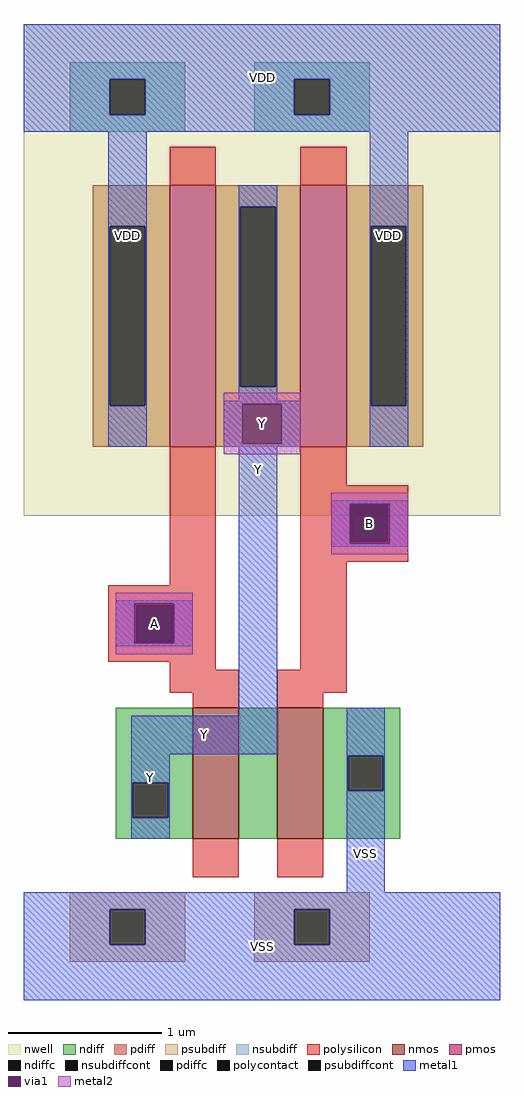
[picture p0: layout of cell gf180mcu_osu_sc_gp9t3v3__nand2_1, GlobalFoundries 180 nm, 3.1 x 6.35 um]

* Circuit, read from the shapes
.subckt gf180mcu_osu_sc_gp9t3v3__nand2_1 A B Y VDD VSS
XM1 n1 A Y VSS nfet_03v3 w=0.85u l=0.3u
XM2 VSS B n1 VSS nfet_03v3 w=0.85u l=0.3u
XM3 Y A VDD VDD pfet_03v3 w=1.7u l=0.3u
XM4 VDD B Y VDD pfet_03v3 w=1.7u l=0.3u
.ends

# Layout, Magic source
magic
tech gf180mcuA
magscale 1 10
<< nwell >>
rect 0 630 620 1270
<< nmos >>
rect 220 210 280 380
rect 330 210 390 380
<< pmos >>
rect 190 720 250 1060
rect 360 720 420 1060
<< ndiff >>
rect 120 283 220 380
rect 120 237 142 283
rect 188 237 220 283
rect 120 210 220 237
rect 280 210 330 380
rect 390 318 490 380
rect 390 272 422 318
rect 468 272 490 318
rect 390 210 490 272
<< pdiff >>
rect 90 1007 190 1060
rect 90 773 112 1007
rect 158 773 190 1007
rect 90 720 190 773
rect 250 1032 360 1060
rect 250 798 282 1032
rect 328 798 360 1032
rect 250 720 360 798
rect 420 1007 520 1060
rect 420 773 452 1007
rect 498 773 520 1007
rect 420 720 520 773
<< ndiffc >>
rect 142 237 188 283
rect 422 272 468 318
<< pdiffc >>
rect 112 773 158 1007
rect 282 798 328 1032
rect 452 773 498 1007
<< psubdiff >>
rect 60 118 210 140
rect 60 72 112 118
rect 158 72 210 118
rect 60 50 210 72
rect 300 118 450 140
rect 300 72 352 118
rect 398 72 450 118
rect 300 50 450 72
<< nsubdiff >>
rect 60 1198 210 1220
rect 60 1152 112 1198
rect 158 1152 210 1198
rect 60 1130 210 1152
rect 300 1198 450 1220
rect 300 1152 352 1198
rect 398 1152 450 1198
rect 300 1130 450 1152
<< psubdiffcont >>
rect 112 72 158 118
rect 352 72 398 118
<< nsubdiffcont >>
rect 112 1152 158 1198
rect 352 1152 398 1198
<< polysilicon >>
rect 190 1060 250 1110
rect 360 1060 420 1110
rect 190 540 250 720
rect 110 513 250 540
rect 110 467 147 513
rect 193 467 250 513
rect 110 440 250 467
rect 190 430 250 440
rect 360 670 420 720
rect 360 643 500 670
rect 360 597 427 643
rect 473 597 500 643
rect 360 570 500 597
rect 360 430 420 570
rect 190 400 280 430
rect 220 380 280 400
rect 330 400 420 430
rect 330 380 390 400
rect 220 160 280 210
rect 330 160 390 210
<< polycontact >>
rect 147 467 193 513
rect 427 597 473 643
<< metal1 >>
rect 0 1198 620 1270
rect 0 1152 112 1198
rect 158 1152 352 1198
rect 398 1152 620 1198
rect 0 1130 620 1152
rect 110 1007 160 1130
rect 110 773 112 1007
rect 158 773 160 1007
rect 280 1032 330 1060
rect 280 798 282 1032
rect 328 798 330 1032
rect 280 780 330 798
rect 450 1007 500 1130
rect 110 720 160 773
rect 260 776 360 780
rect 260 724 284 776
rect 336 724 360 776
rect 260 720 360 724
rect 450 773 452 1007
rect 498 773 500 1007
rect 450 720 500 773
rect 120 516 220 520
rect 120 464 144 516
rect 196 464 220 516
rect 120 460 220 464
rect 280 370 330 720
rect 400 646 500 650
rect 400 594 424 646
rect 476 594 500 646
rect 400 590 500 594
rect 140 320 330 370
rect 140 283 190 320
rect 140 237 142 283
rect 188 237 190 283
rect 140 210 190 237
rect 420 318 470 380
rect 420 272 422 318
rect 468 272 470 318
rect 420 140 470 272
rect 0 118 620 140
rect 0 72 112 118
rect 158 72 352 118
rect 398 72 620 118
rect 0 0 620 72
<< via1 >>
rect 284 724 336 776
rect 144 513 196 516
rect 144 467 147 513
rect 147 467 193 513
rect 193 467 196 513
rect 144 464 196 467
rect 424 643 476 646
rect 424 597 427 643
rect 427 597 473 643
rect 473 597 476 643
rect 424 594 476 597
<< metal2 >>
rect 260 776 360 790
rect 260 724 284 776
rect 336 724 360 776
rect 260 710 360 724
rect 400 646 500 660
rect 400 594 424 646
rect 476 594 500 646
rect 400 580 500 594
rect 120 516 220 530
rect 120 464 144 516
rect 196 464 220 516
rect 120 450 220 464
<< labels >>
rlabel via1 s 144 464 196 516 4 A
port 1 nsew signal input
rlabel via1 s 424 594 476 646 4 B
port 2 nsew signal input
rlabel via1 s 284 724 336 776 4 Y
port 3 nsew signal output
rlabel metal1 s 110 720 160 1270 4 VDD
port 4 nsew power bidirectional abutment
rlabel metal1 s 420 0 470 380 4 VSS
port 5 nsew ground bidirectional abutment
rlabel metal1 s 450 720 500 1270 1 VDD
port 4 nsew power bidirectional abutment
rlabel metal1 s 0 1130 620 1270 1 VDD
port 4 nsew power bidirectional abutment
rlabel metal1 s 0 0 620 140 1 VSS
port 5 nsew ground bidirectional abutment
rlabel metal2 s 120 450 220 530 1 A
port 1 nsew signal input
rlabel metal1 s 120 460 220 520 1 A
port 1 nsew signal input
rlabel metal2 s 400 580 500 660 1 B
port 2 nsew signal input
rlabel metal1 s 400 590 500 650 1 B
port 2 nsew signal input
rlabel metal2 s 260 710 360 790 1 Y
port 3 nsew signal output
rlabel metal1 s 140 210 190 370 1 Y
port 3 nsew signal output
rlabel metal1 s 140 320 330 370 1 Y
port 3 nsew signal output
rlabel metal1 s 280 320 330 1060 1 Y
port 3 nsew signal output
rlabel metal1 s 260 720 360 780 1 Y
port 3 nsew signal output
<< properties >>
string FIXED_BBOX 0 0 620 1270
string GDS_END 332760
string GDS_FILE $PDKPATH/libs.ref/gf180mcu_osu_sc_gp9t3v3/gds/gf180mcu_osu_sc_gp9t3v3.gds
string GDS_START 328594
string LEFclass CORE
string LEFsite gf180mcu_osu_sc_gp9t3v3
string LEFsymmetry X Y
<< end >>
